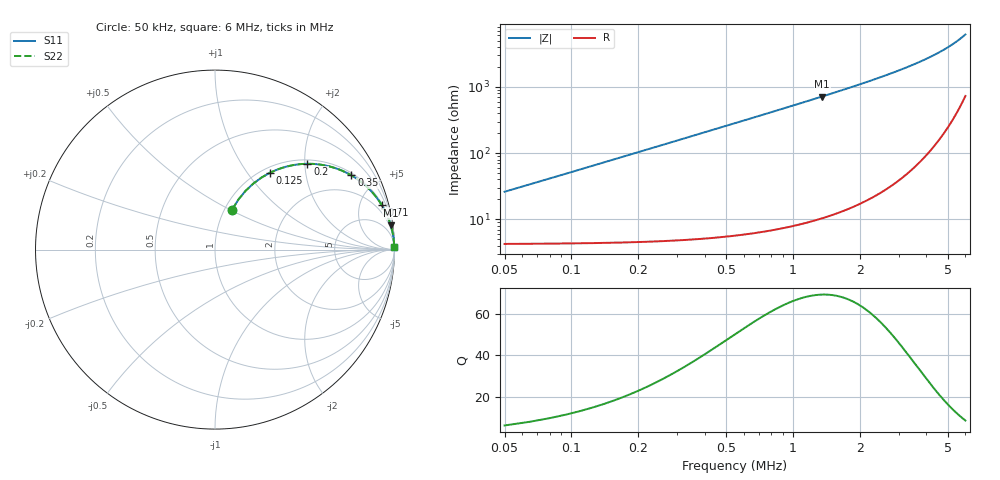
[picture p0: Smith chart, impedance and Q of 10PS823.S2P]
! Coilcraft 1008PS-823 Power Chip Inductor
! 7 October 2002
# MHZ S MA R 50
!Freq  MagS11  AngS11  MagS21  AngS21  MagS12  AngS12  MagS22  AngS22
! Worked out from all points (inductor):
!   398 points, 50 kHz to 6 MHz, reference 50 ohm
!   read as one part in series: L = 82 uH near 65 kHz
!   highest Q = 69.1 at 1.355 MHz (marker M1), where L = 84.2 uH
!   S11 on the Smith chart (normalised r, x): 50 kHz: 1.09, +0.52; 125 kHz: 1.09, +1.29; 200 kHz: 1.09, +2.06; 350 kHz: 1.10, +3.61; 710 kHz: 1.13, +7.37; 6 MHz: open
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0.05  0.2431 66.7  0.9312 -13.9  0.9312 -13.9  0.2431 66.7
0.065  0.3083 64.9  0.9131 -17.8  0.9131 -17.8  0.3083 64.9
0.08  0.3696 62.5  0.8917 -21.6  0.8917 -21.6  0.3696 62.5
0.095  0.4265 59.8  0.8678 -25.1  0.8678 -25.1  0.4265 59.8
0.125  0.5264 54.4  0.8153 -31.7  0.8153 -31.7  0.5264 54.4
0.155  0.6085 49.4  0.7605 -37.4  0.7605 -37.4  0.6085 49.4
0.2  0.7029 42.9  0.6811 -44.6  0.6811 -44.6  0.7029 42.9
0.23  0.7505 39.2  0.6324 -48.6  0.6324 -48.6  0.7505 39.2
0.275  0.8049 34.5  0.5672 -53.6  0.5672 -53.6  0.8049 34.5
0.35  0.865 28.6  0.4787 -59.8  0.4787 -59.8  0.865 28.6
0.425  0.902 24.2  0.4108 -64.4  0.4108 -64.4  0.902 24.2
0.5  0.9261 21.0  0.3582 -67.8  0.3582 -67.8  0.9261 21.0
0.59  0.9451 18.0  0.3093 -70.9  0.3093 -70.9  0.9451 18.0
0.71  0.9609 15.1  0.2608 -73.9  0.2608 -73.9  0.9609 15.1
1.055  0.9814 10.2  0.1777 -78.9  0.1777 -78.9  0.9814 10.2
1.355  0.9885 7.9  0.1379 -81.2  0.1379 -81.2  0.9885 7.9
1.67  0.9922 6.4  0.1108 -82.8  0.1108 -82.8  0.9922 6.4
2.045  0.9946 5.1  0.08884 -84.0  0.08884 -84.0  0.9946 5.1
3.035  0.9972 3.2  0.05551 -85.6  0.05551 -85.6  0.9972 3.2
4.025  0.998 2.1  0.03717 -85.8  0.03717 -85.8  0.998 2.1
5.015  0.9981 1.4  0.02503 -85.0  0.02503 -85.0  0.9981 1.4
6  0.998 0.9  0.0161 -82.3  0.0161 -82.3  0.998 0.9
